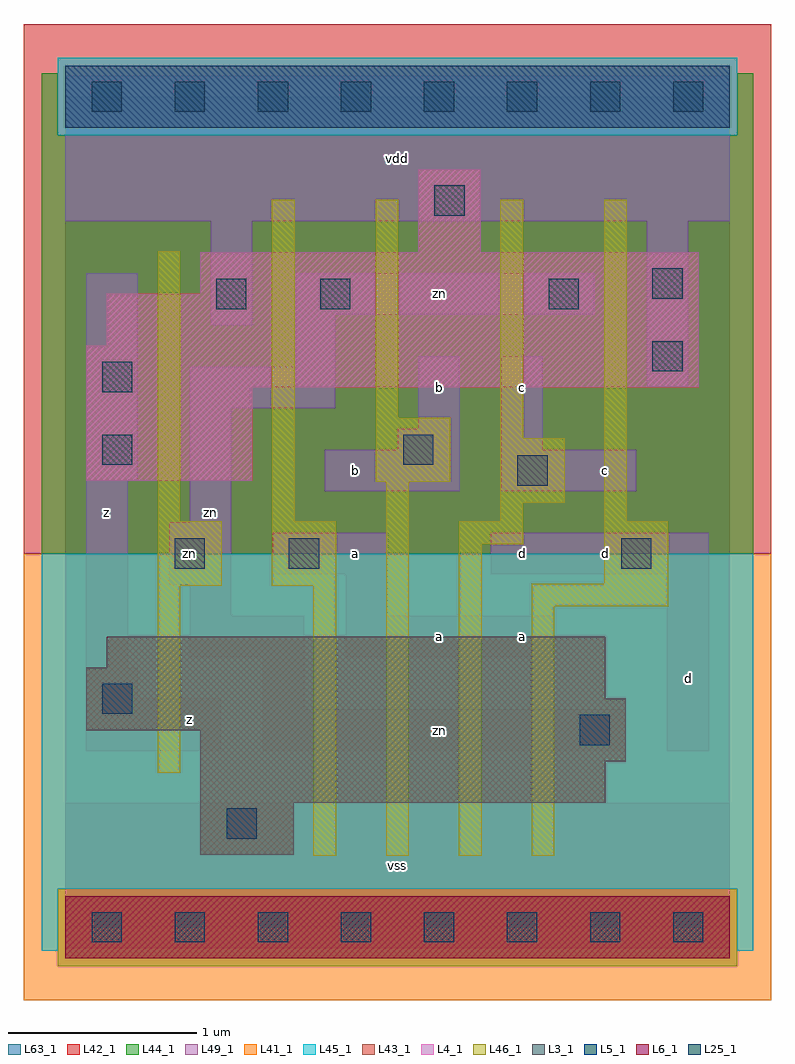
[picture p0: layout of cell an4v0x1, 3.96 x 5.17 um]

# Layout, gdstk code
import gdstk
lib = gdstk.Library(unit=1e-6, precision=1e-09)
def R(c, l, rs):  # rectangles x0, y0, x1, y1
    for r in rs: c.add(gdstk.rectangle(r[:2], r[2:], *l))
def A(c, l, x, y, w, h, nx, ny, dx, dy):  # array of equal rectangles
    R(c, l, [(x+i*dx, y+j*dy, x+i*dx+w, y+j*dy+h) for i in range(nx) for j in range(ny)])
L3_1 = (3, 1)
L4_1 = (4, 1)
L5_1 = (5, 1)
L6_1 = (6, 1)
L25_1 = (25, 1)
L41_1 = (41, 1)
L42_1 = (42, 1)
L43_1 = (43, 1)
L44_1 = (44, 1)
L45_1 = (45, 1)
L46_1 = (46, 1)
L49_1 = (49, 1)
L63_1 = (63, 1)

an4v0x1 = lib.new_cell('an4v0x1')
R(an4v0x1, L3_1, [(0.715,0.385,1.21,0.66), (0.715,0.66,2.86,0.88), (0.715,0.88,2.97,1.045), (0.11,1.045,2.97,1.21), (0.11,1.21,2.86,1.375), (0.22,1.375,2.86,1.54)])
R(an4v0x1, L4_1, [(0.11,2.365,0.99,2.86), (0.11,2.86,3.355,3.08), (0.22,3.08,3.355,3.355), (0.715,3.355,3.355,3.575), (1.87,3.575,2.2,4.015)])
R(an4v0x1, L5_1, [(0,4.235,3.52,4.565)])
R(an4v0x1, L6_1, [(0,-0.165,3.52,0.165)])
A(an4v0x1, L25_1, 0.14, -0.08, 0.16, 0.16, 8, 2, 0.44, 4.4)
R(an4v0x1, L25_1, [(0.855,0.47,1.015,0.63), (2.725,0.965,2.885,1.125), (0.195,1.13,0.355,1.29), (0.58,1.9,0.74,2.06), (1.185,1.9,1.345,2.06), (2.945,1.9,3.105,2.06), (2.395,2.34,2.555,2.5), (0.195,2.45,0.355,2.61), (1.79,2.45,1.95,2.61), (0.195,2.835,0.355,2.995), (3.11,2.945,3.27,3.105), (0.8,3.275,0.96,3.435), (1.35,3.275,1.51,3.435), (2.56,3.275,2.72,3.435), (3.11,3.33,3.27,3.49), (1.955,3.77,2.115,3.93)])
R(an4v0x1, L41_1, [(-0.22,-0.385,3.74,1.98)])
R(an4v0x1, L42_1, [(-0.22,1.98,3.74,4.785)])
R(an4v0x1, L43_1, [(0,-0.165,3.52,0.165), (0.715,0.385,1.21,0.66), (0.715,0.66,2.86,0.88), (0.715,0.88,2.97,1.045), (0.11,1.045,2.97,1.21), (0.11,1.21,2.86,1.375), (0.22,1.375,2.86,1.54), (0.11,2.365,0.99,2.86), (0.11,2.86,3.355,3.08), (0.22,3.08,3.355,3.355), (0.715,3.355,3.355,3.575), (1.87,3.575,2.2,4.015), (0,4.235,3.52,4.565)])
R(an4v0x1, L44_1, [(-0.04,-0.205,3.56,0.205), (-0.125,1.98,3.645,4.195), (-0.125,4.195,-0.04,4.525), (3.56,4.195,3.645,4.525)])
R(an4v0x1, L45_1, [(-0.125,-0.125,-0.04,0.205), (3.56,-0.125,3.645,0.205), (-0.125,0.205,3.645,1.98), (-0.04,4.195,3.56,4.605)])
R(an4v0x1, L46_1, [(1.315,0.38,1.435,1.81), (1.7,0.38,1.82,2.36), (2.085,0.38,2.205,2.03), (2.47,0.38,2.59,1.7), (0.49,0.82,0.61,1.81), (2.47,1.7,3.195,1.82), (0.49,1.81,0.83,2.15), (1.095,1.81,1.435,2.15), (2.855,1.82,3.195,2.15), (2.085,2.03,2.425,2.15), (0.49,2.15,0.61,3.58), (1.095,2.15,1.215,3.855), (2.305,2.15,2.425,2.25), (2.855,2.15,2.975,3.855), (2.305,2.25,2.645,2.59), (1.645,2.36,2.04,2.7), (2.305,2.59,2.425,3.855), (1.645,2.7,1.765,3.855)])
R(an4v0x1, L49_1, [(0,-0.11,3.52,0.66), (0.11,0.935,0.825,1.21), (1.045,0.935,2.97,1.155), (3.19,0.935,3.41,1.87), (1.045,1.155,1.265,1.43), (0.11,1.21,0.385,1.375), (0.11,1.375,0.33,2.365), (0.66,1.43,1.265,1.65), (1.485,1.43,2.585,1.65), (0.66,1.65,0.88,1.815), (1.485,1.65,1.705,1.87), (0.55,1.815,0.88,2.145), (1.1,1.87,1.705,2.09), (2.255,1.87,3.41,2.09), (0.66,2.145,0.88,2.75), (1.375,2.31,2.09,2.53), (2.31,2.31,3.025,2.53), (0.11,2.365,0.385,3.465), (1.76,2.53,2.09,2.64), (2.31,2.53,2.53,3.025), (1.87,2.64,2.09,3.025), (0.66,2.75,1.43,2.97), (3.08,2.86,3.3,3.74), (1.21,2.97,1.43,3.245), (0.77,3.19,0.99,3.74), (1.21,3.245,2.805,3.465), (0,3.74,3.52,4.51)])
R(an4v0x1, L63_1, [(0,0,3.52,4.4)])
an4v0x1.add(gdstk.Label('zn', (0.66,1.98), layer=49, texttype=1))
an4v0x1.add(gdstk.Label('z', (0.22,2.2), layer=49, texttype=1))
an4v0x1.add(gdstk.Label('z', (0.66,1.1), layer=49, texttype=1))
an4v0x1.add(gdstk.Label('zn', (0.77,2.2), layer=49, texttype=1))
an4v0x1.add(gdstk.Label('vss', (1.76,0.33), layer=49, texttype=1))
an4v0x1.add(gdstk.Label('a', (1.98,1.54), layer=49, texttype=1))
an4v0x1.add(gdstk.Label('a', (1.54,1.98), layer=49, texttype=1))
an4v0x1.add(gdstk.Label('b', (1.54,2.42), layer=49, texttype=1))
an4v0x1.add(gdstk.Label('b', (1.98,2.86), layer=49, texttype=1))
an4v0x1.add(gdstk.Label('vdd', (1.76,4.07), layer=49, texttype=1))
an4v0x1.add(gdstk.Label('a', (2.42,1.54), layer=49, texttype=1))
an4v0x1.add(gdstk.Label('d', (2.42,1.98), layer=49, texttype=1))
an4v0x1.add(gdstk.Label('c', (2.42,2.86), layer=49, texttype=1))
an4v0x1.add(gdstk.Label('zn', (1.98,3.355), layer=49, texttype=1))
an4v0x1.add(gdstk.Label('zn', (1.98,1.045), layer=49, texttype=1))
an4v0x1.add(gdstk.Label('d', (3.3,1.32), layer=49, texttype=1))
an4v0x1.add(gdstk.Label('d', (2.86,1.98), layer=49, texttype=1))
an4v0x1.add(gdstk.Label('c', (2.86,2.42), layer=49, texttype=1))

lib.write_gds('an4v0x1.gds')
